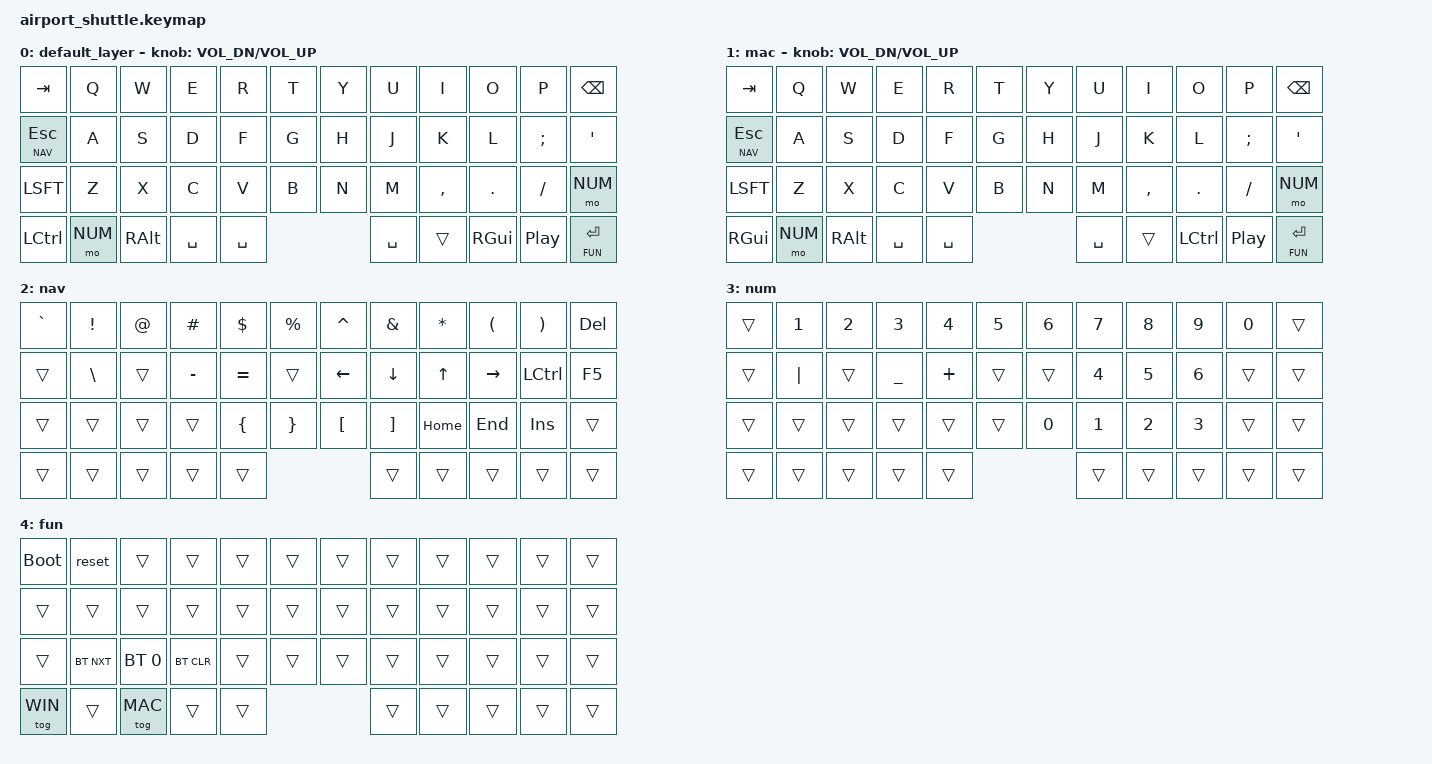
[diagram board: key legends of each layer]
#include <behaviors.dtsi>
#include <dt-bindings/zmk/keys.h>
#include <dt-bindings/zmk/bt.h>

#define WIN   0
#define MAC   1
#define NAV   2
#define NUM   3
#define FUN   4



/ {
  keymap {
    compatible = "zmk,keymap";

    default_layer {
      bindings = <
  &kp TAB       &kp Q         &kp W       &kp E   &kp R   &kp T   &kp Y     &kp U   &kp I     &kp O     &kp P       &kp BKSP
  &lt NAV ESC   &kp A         &kp S       &kp D   &kp F   &kp G   &kp H     &kp J   &kp K     &kp L     &kp SCLN    &kp QUOT
  &kp LSFT      &kp Z         &kp X       &kp C   &kp V   &kp B   &kp N     &kp M   &kp CMMA  &kp DOT   &kp FSLH    &mo NUM
  &kp LCTRL     &mo NUM       &kp RALT            &kp SPC  &kp SPC    &kp SPC       &trans    &kp RGUI  &kp C_PP    &lt FUN RET
      >;
      sensor-bindings = <&inc_dec_kp C_VOL_DN C_VOL_UP>;
    };
    mac {
      bindings = <
  &kp TAB       &kp Q         &kp W       &kp E   &kp R   &kp T   &kp Y     &kp U   &kp I     &kp O     &kp P       &kp BKSP
  &lt NAV ESC   &kp A         &kp S       &kp D   &kp F   &kp G   &kp H     &kp J   &kp K     &kp L     &kp SCLN    &kp QUOT
  &kp LSFT      &kp Z         &kp X       &kp C   &kp V   &kp B   &kp N     &kp M   &kp CMMA  &kp DOT   &kp FSLH    &mo NUM
  &kp RGUI      &mo NUM       &kp RALT            &kp SPC  &kp SPC    &kp SPC       &trans    &kp LCTRL &kp C_PP    &lt FUN RET
      >;
      sensor-bindings = <&inc_dec_kp C_VOL_DN C_VOL_UP >;
    };
    nav {
      bindings = <
  &kp GRAVE     &kp EXCL      &kp AT  &kp HASH  &kp DLLR    &kp PRCNT   &kp CARET   &kp AMPS  &kp STAR    &kp LPAR      &kp RPAR      &kp DEL
  &trans        &kp BSLH      &trans  &kp MINUS &kp EQUAL   &trans      &kp LEFT    &kp DOWN  &kp UP      &kp RIGHT     &kp LCTRL      &kp F5
  &trans        &trans        &trans  &trans    &kp LBRC    &kp RBRC    &kp LBKT    &kp RBKT  &kp HOME    &kp END       &kp INS       &trans
  &trans        &trans        &trans                   &trans &trans &trans                   &trans      &trans        &trans        &trans
      >;
    };
    num {
      bindings = <
  &trans &kp N1     &kp N2    &kp N3    &kp N4    &kp N5    &kp N6    &kp N7    &kp N8    &kp N9    &kp N0    &trans
  &trans &kp PIPE   &trans    &kp UNDER &kp PLUS  &trans    &trans    &kp N4    &kp N5    &kp N6    &trans    &trans
  &trans &trans     &trans    &trans    &trans    &trans    &kp N0    &kp N1    &kp N2    &kp N3    &trans    &trans
  &trans &trans     &trans                   &trans &trans &trans               &trans    &trans    &trans    &trans
      >;
    }; 
    fun {
      bindings = <
  &bootloader   &reset        &trans        &trans        &trans    &trans    &trans    &trans    &trans    &trans    &trans    &trans
  &trans        &trans        &trans        &trans        &trans    &trans    &trans    &trans    &trans    &trans    &trans    &trans
  &trans        &bt BT_NXT    &bt BT_SEL 0  &bt BT_CLR    &trans    &trans    &trans    &trans    &trans    &trans    &trans    &trans
  &tog WIN      &trans        &tog MAC                  &trans &trans &trans                      &trans    &trans    &trans    &trans
      >;
    };
  };
};
